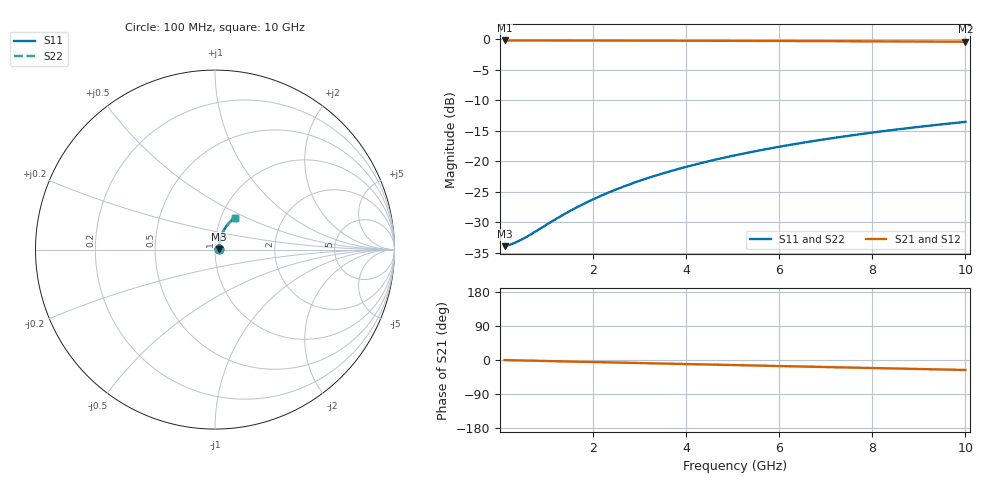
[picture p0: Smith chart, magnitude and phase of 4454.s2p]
# Hz S RI R 50.00
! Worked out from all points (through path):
!   100 points, 100 MHz to 10 GHz, reference 50 ohm
!   highest |S21| = -0.18 dB at 100 MHz (marker M1); lowest = -0.4 dB at 10 GHz (marker M2)
!   group delay of S21, straight-line fit = 7.32 ps
!   lowest |S11| = -33.9 dB at 100 MHz (marker M3), VSWR 1.04, Z = 52 + j0.22 ohm
!   |S11| at or under -10 dB: start of sweep to end of sweep
!   |S22| runs from -33.9 to -13.5 dB; largest |S21 - S12| = 0
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1e8  0.02 0.00212  0.98 -0.00457  0.98 -0.00457  0.02 0.00212
2e8  0.0202 0.00423  0.9798 -0.00915  0.9798 -0.00915  0.0202 0.00423
3e8  0.0203 0.00634  0.9796 -0.0137  0.9796 -0.0137  0.0203 0.00634
5e8  0.0206 0.0106  0.9793 -0.0229  0.9793 -0.0229  0.0206 0.0106
7e8  0.021 0.0148  0.9789 -0.032  0.9789 -0.032  0.021 0.0148
1.3e9  0.0224 0.0274  0.977 -0.0593  0.977 -0.0593  0.0224 0.0274
1.6e9  0.0234 0.0336  0.9758 -0.073  0.9758 -0.073  0.0234 0.0336
1.8e9  0.0241 0.0378  0.9749 -0.082  0.9749 -0.082  0.0241 0.0378
2.1e9  0.0253 0.044  0.9733 -0.0956  0.9733 -0.0956  0.0253 0.044
2.5e9  0.0272 0.0522  0.9708 -0.1136  0.9708 -0.1136  0.0272 0.0522
2.9e9  0.0294 0.0603  0.968 -0.1316  0.968 -0.1316  0.0294 0.0603
3.4e9  0.0326 0.0703  0.9638 -0.1539  0.9638 -0.1539  0.0326 0.0703
3.8e9  0.0354 0.0782  0.9601 -0.1716  0.9601 -0.1716  0.0354 0.0782
4.2e9  0.0385 0.086  0.956 -0.1892  0.956 -0.1892  0.0385 0.086
4.6e9  0.0419 0.0936  0.9515 -0.2067  0.9515 -0.2067  0.0419 0.0936
5.1e9  0.0466 0.103  0.9453 -0.2283  0.9453 -0.2283  0.0466 0.103
5.9e9  0.0549 0.1174  0.9343 -0.2623  0.9343 -0.2623  0.0549 0.1174
6.7e9  0.0642 0.1311  0.9219 -0.2957  0.9219 -0.2957  0.0642 0.1311
7.5e9  0.0744 0.144  0.9082 -0.3282  0.9082 -0.3282  0.0744 0.144
8.4e9  0.0869 0.1575  0.8912 -0.3638  0.8912 -0.3638  0.0869 0.1575
9.2e9  0.0989 0.1686  0.8748 -0.3945  0.8748 -0.3945  0.0989 0.1686
1e10  0.1116 0.1787  0.8573 -0.4242  0.8573 -0.4242  0.1116 0.1787
